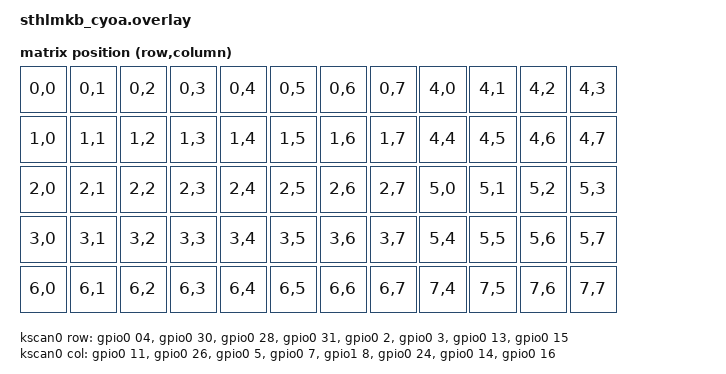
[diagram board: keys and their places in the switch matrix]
/*
 * Copyright (c) 2021 The ZMK Contributors
 *
 * SPDX-License-Identifier: MIT
 */

#include <dt-bindings/zmk/matrix_transform.h>

#include <layouts/common/ortho_5x12/all1u.dtsi>
#include <dt-bindings/led/led.h>

/ {
    chosen {
        zmk,kscan = &kscan0;
        zmk,physical-layout = &layout_ortho_5x12_all1u;
        // zmk,underglow = &led_strip;
    };

    matrix_transform_50_all1u: keymap_transform_0 {
        compatible = "zmk,matrix-transform";
        columns = <8>;
        rows = <8>;
        map = <
            RC(0,0) RC(0,1) RC(0,2) RC(0,3) RC(0,4) RC(0,5) RC(0,6) RC(0,7) RC(4,0) RC(4,1) RC(4,2) RC(4,3)
            RC(1,0) RC(1,1) RC(1,2) RC(1,3) RC(1,4) RC(1,5) RC(1,6) RC(1,7) RC(4,4) RC(4,5) RC(4,6) RC(4,7)
            RC(2,0) RC(2,1) RC(2,2) RC(2,3) RC(2,4) RC(2,5) RC(2,6) RC(2,7) RC(5,0) RC(5,1) RC(5,2) RC(5,3)
            RC(3,0) RC(3,1) RC(3,2) RC(3,3) RC(3,4) RC(3,5) RC(3,6) RC(3,7) RC(5,4) RC(5,5) RC(5,6) RC(5,7)
            RC(6,0) RC(6,1) RC(6,2) RC(6,3) RC(6,4) RC(6,5) RC(6,6) RC(6,7) RC(7,4) RC(7,5) RC(7,6) RC(7,7)
            >;
    };

    kscan0: kscan {
        compatible = "zmk,kscan-gpio-matrix";
        // label = "KSCAN";
        diode-direction = "row2col";

        row-gpios
            = <&gpio0 04 (GPIO_ACTIVE_HIGH | GPIO_PULL_DOWN)>
            , <&gpio0 30 (GPIO_ACTIVE_HIGH | GPIO_PULL_DOWN)>
            , <&gpio0 28 (GPIO_ACTIVE_HIGH | GPIO_PULL_DOWN)>
            , <&gpio0 31 (GPIO_ACTIVE_HIGH | GPIO_PULL_DOWN)>
            , <&gpio0 2 (GPIO_ACTIVE_HIGH | GPIO_PULL_DOWN)>
            , <&gpio0 3 (GPIO_ACTIVE_HIGH | GPIO_PULL_DOWN)>
            , <&gpio0 13 (GPIO_ACTIVE_HIGH | GPIO_PULL_DOWN)>
            , <&gpio0 15 (GPIO_ACTIVE_HIGH | GPIO_PULL_DOWN)>
            ;
        // row-gpios
        //     = <&pro_micro 2 (GPIO_ACTIVE_HIGH | GPIO_PULL_DOWN)>
        //     , <&pro_micro 3 (GPIO_ACTIVE_HIGH | GPIO_PULL_DOWN)>
        //     , <&pro_micro 4 (GPIO_ACTIVE_HIGH | GPIO_PULL_DOWN)>
        //     , <&pro_micro 5 (GPIO_ACTIVE_HIGH | GPIO_PULL_DOWN)>
        //     , <&pro_micro 6 (GPIO_ACTIVE_HIGH | GPIO_PULL_DOWN)>
        //     , <&pro_micro 7 (GPIO_ACTIVE_HIGH | GPIO_PULL_DOWN)>
        //     , <&pro_micro 8 (GPIO_ACTIVE_HIGH | GPIO_PULL_DOWN)>
        //     , <&pro_micro 9 (GPIO_ACTIVE_HIGH | GPIO_PULL_DOWN)>
        //     ;

        col-gpios
            = <&gpio0 11 (GPIO_ACTIVE_HIGH | GPIO_PULL_DOWN)>
            , <&gpio0 26 (GPIO_ACTIVE_HIGH | GPIO_PULL_DOWN)>
            , <&gpio0 5 (GPIO_ACTIVE_HIGH | GPIO_PULL_DOWN)>
            , <&gpio0 7 (GPIO_ACTIVE_HIGH | GPIO_PULL_DOWN)>
            , <&gpio1 8 (GPIO_ACTIVE_HIGH | GPIO_PULL_DOWN)>
            , <&gpio0 24 (GPIO_ACTIVE_HIGH | GPIO_PULL_DOWN)>
            , <&gpio0 14 (GPIO_ACTIVE_HIGH | GPIO_PULL_DOWN)>
            , <&gpio0 16 (GPIO_ACTIVE_HIGH | GPIO_PULL_DOWN)>
            ;

        // col-gpios
        //     = <&pro_micro 21 GPIO_ACTIVE_HIGH>
        //     , <&pro_micro 20 GPIO_ACTIVE_HIGH>
        //     , <&pro_micro 19 GPIO_ACTIVE_HIGH>
        //     , <&pro_micro 18 GPIO_ACTIVE_HIGH>
        //     , <&pro_micro 15 GPIO_ACTIVE_HIGH>
        //     , <&pro_micro 14 GPIO_ACTIVE_HIGH>
        //     , <&pro_micro 16 GPIO_ACTIVE_HIGH>
        //     , <&pro_micro 10 GPIO_ACTIVE_HIGH>
        //     ;

        // enc-gpios =
        //     <&pro_micro 0 GPIO_ACTIVE_HIGH>,
        //     <&pro_micro 1 GPIO_ACTIVE_HIGH>;
    };
}; 

&layout_ortho_5x12_all1u {
    transform = <&matrix_transform_50_all1u>;
};

// &pinctrl {
//     spi1_default: spi1_default {
//         group1 {
//             psels = <NRF_PSEL(SPIM_MOSI, 0, 8)>,
//                     <NRF_PSEL(SPIM_SCK, 1, 9)>;
//         };
//     };

//     spi1_sleep: spi1_sleep {
//         group1 {
//             psels = <NRF_PSEL(SPIM_MOSI, 0, 8)>,
//                     <NRF_PSEL(SPIM_SCK, 1, 9)>;
//             low-power-enable;
//         };
//     };
// };

// &spi1 {
//     compatible = "nordic,nrf-spim";
//     compatible = "spi-device";
//     status = "okay";

//     pinctrl-0 = <&spi1_default>;
//     pinctrl-1 = <&spi1_sleep>;
//     pinctrl-names = "default", "sleep";

//     led_strip: apa102@0 {
//         compatible = "apa,apa102";

//         /* SPI */
//         reg = <0>; /* ignored, but necessary for SPI bindings */
//         spi-max-frequency = <4000000>;

//         /* apa102 */
//         chain-length = <1>; /* number of LEDs */
//         color-mapping = <LED_COLOR_ID_GREEN
//                          LED_COLOR_ID_RED
//                          LED_COLOR_ID_BLUE>;
//     };
// };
